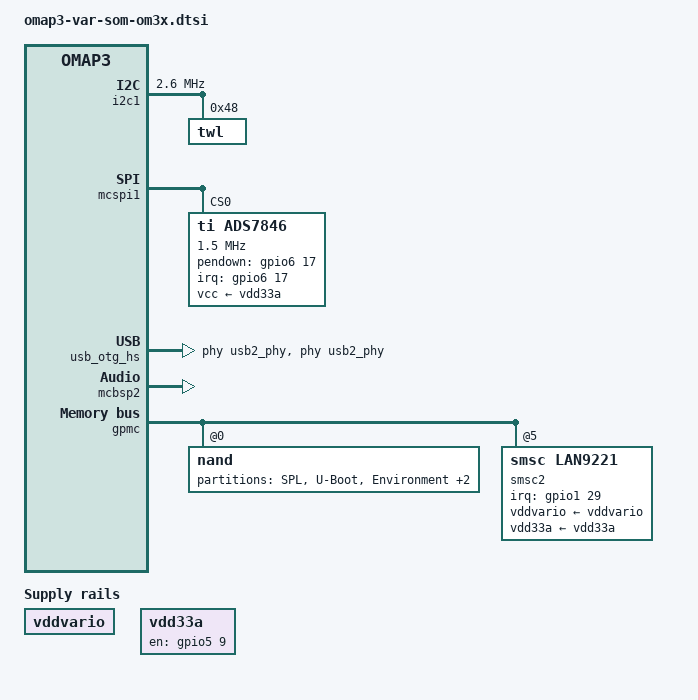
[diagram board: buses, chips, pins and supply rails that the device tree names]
/*
 * Copyright (C) 2012 Florian Vaussard, EPFL Mobots group
 *
 * This program is free software; you can redistribute it and/or modify
 * it under the terms of the GNU General Public License version 2 as
 * published by the Free Software Foundation.
 */
 
#include "omap36xx.dtsi"
#include "omap3-var-som-om3x-usb.dtsi"
/ {
	sound {
		compatible = "ti,omap-twl4030";
		ti,model = "var-som-om3x";

		ti,mcbsp = <&mcbsp2>;
		ti,codec = <&twl_audio>;
	};

	vddvario: regulator-vddvario {
		compatible = "regulator-fixed";
		regulator-name = "vddvario";
		regulator-always-on;
	};

	vdd33a: regulator-vdd33a {
		compatible = "regulator-fixed";
		regulator-name = "vdd33a";
                gpio = <&gpio5 9 0>;
                enable-active-high;
		regulator-always-on;
	};
};


&omap3_pmx_core2 {
	smsc_pins2: pinmux_smsc_pins2 {
		pinctrl-single,pins = <
			OMAP3630_CORE2_IOPAD(0x25fa, PIN_INPUT_PULLUP | MUX_MODE4)	/* etk_d15.gpio_29 */
		>;
	};
};

&omap3_pmx_core {
	pinctrl-names = "default";
	pinctrl-0 = <&smsc_pins1>;

	uart2_pins: pinmux_uart2_pins {
		pinctrl-single,pins = <
			OMAP3_CORE1_IOPAD(0x216c, PIN_INPUT | MUX_MODE1)	/* mcbsp3_dx.uart2_cts */
			OMAP3_CORE1_IOPAD(0x216e, PIN_OUTPUT | MUX_MODE1)	/* mcbsp3_dr.uart2_rts */
			OMAP3_CORE1_IOPAD(0x2170, PIN_OUTPUT | MUX_MODE1)	/* mcbsp3_clk.uart2_tx */
			OMAP3_CORE1_IOPAD(0x2172, PIN_INPUT | MUX_MODE1)	/* mcbsp3_fsx.uart2_rx */
		>;
	};

	i2c1_pins: pinmux_i2c1_pins {
		pinctrl-single,pins = <
			OMAP3_CORE1_IOPAD(0x21ba, PIN_INPUT | MUX_MODE0)		/* i2c1_scl.i2c1_scl */
			OMAP3_CORE1_IOPAD(0x21bc, PIN_INPUT | MUX_MODE0)		/* i2c1_sda.i2c1_sda */
		>;
	};

	i2c3_pins: pinmux_i2c3_pins {
		pinctrl-single,pins = <
			OMAP3_CORE1_IOPAD(0x21c2, PIN_INPUT | MUX_MODE0)		/* i2c3_scl.i2c3_scl */
			OMAP3_CORE1_IOPAD(0x21c4, PIN_INPUT | MUX_MODE0)		/* i2c3_sda.i2c3_sda */
		>;
	};

	i2c4_pins: pinmux_i2c4_pins {
		pinctrl-single,pins = <
			OMAP3_CORE1_IOPAD(0x2a00, PIN_INPUT | MUX_MODE0)		/* i2c4_scl.i2c4_scl */
			OMAP3_CORE1_IOPAD(0x2a02, PIN_INPUT | MUX_MODE0)		/* i2c4_sda.i2c4_sda */
		>;
	};


	mmc1_pins: pinmux_mmc1_pins {
		pinctrl-single,pins = <
			OMAP3_CORE1_IOPAD(0x2144, PIN_INPUT_PULLUP | MUX_MODE0)		/* sdmmc1_clk.sdmmc1_clk */
			OMAP3_CORE1_IOPAD(0x2146, PIN_INPUT_PULLUP | MUX_MODE0)		/* sdmmc1_cmd.sdmmc1_cmd */
			OMAP3_CORE1_IOPAD(0x2148, PIN_INPUT_PULLUP | MUX_MODE0)		/* sdmmc1_dat0.sdmmc1_dat0 */
			OMAP3_CORE1_IOPAD(0x214a, PIN_INPUT_PULLUP | MUX_MODE0)		/* sdmmc1_dat1.sdmmc1_dat1 */
			OMAP3_CORE1_IOPAD(0x214c, PIN_INPUT_PULLUP | MUX_MODE0)		/* sdmmc1_dat2.sdmmc1_dat2 */
			OMAP3_CORE1_IOPAD(0x214e, PIN_INPUT_PULLUP | MUX_MODE0)		/* sdmmc1_dat3.sdmmc1_dat3 */
		>;
	};

	mmc2_pins: pinmux_mmc2_pins {
		pinctrl-single,pins = <
			OMAP3_CORE1_IOPAD(0x2158, PIN_INPUT_PULLUP | MUX_MODE0)		/* sdmmc2_clk.sdmmc2_clk */
			OMAP3_CORE1_IOPAD(0x215a, PIN_INPUT_PULLUP | MUX_MODE0)		/* sdmmc2_cmd.sdmmc2_cmd */
			OMAP3_CORE1_IOPAD(0x215c, PIN_INPUT_PULLUP | MUX_MODE0)		/* sdmmc2_dat0.sdmmc2_dat0 */
			OMAP3_CORE1_IOPAD(0x215e, PIN_INPUT_PULLUP | MUX_MODE0)		/* sdmmc2_dat1.sdmmc2_dat1 */
			OMAP3_CORE1_IOPAD(0x2160, PIN_INPUT_PULLUP | MUX_MODE0)		/* sdmmc2_dat2.sdmmc2_dat2 */
			OMAP3_CORE1_IOPAD(0x2162, PIN_INPUT_PULLUP | MUX_MODE0)		/* sdmmc2_dat3.sdmmc2_dat3 */
		>;
	};

 	hsusb0_pins: pinmux_hsusb0_pins {
		pinctrl-single,pins = <
			OMAP3_CORE1_IOPAD(0x21a2, PIN_OUTPUT | MUX_MODE0)		/* hsusb0_clk.hsusb0_clk */
			OMAP3_CORE1_IOPAD(0x21a4, PIN_OUTPUT | MUX_MODE0)		/* hsusb0_stp.hsusb0_stp */
			OMAP3_CORE1_IOPAD(0x21a6, PIN_INPUT_PULLDOWN | MUX_MODE0)	/* hsusb0_dir.hsusb0_dir */
			OMAP3_CORE1_IOPAD(0x21a8, PIN_INPUT_PULLDOWN | MUX_MODE0)	/* hsusb0_nxt.hsusb0_nxt */
			OMAP3_CORE1_IOPAD(0x21aa, PIN_INPUT_PULLDOWN | MUX_MODE0)	/* hsusb0_data0.hsusb2_data0 */
			OMAP3_CORE1_IOPAD(0x21ac, PIN_INPUT_PULLDOWN | MUX_MODE0)	/* hsusb0_data1.hsusb0_data1 */
			OMAP3_CORE1_IOPAD(0x21ae, PIN_INPUT_PULLDOWN | MUX_MODE0)	/* hsusb0_data2.hsusb0_data2 */
			OMAP3_CORE1_IOPAD(0x21b0, PIN_INPUT_PULLDOWN | MUX_MODE0)	/* hsusb0_data3.hsusb0_data3 */
			OMAP3_CORE1_IOPAD(0x21b2, PIN_INPUT_PULLDOWN | MUX_MODE0)	/* hsusb0_data4.hsusb0_data4 */
			OMAP3_CORE1_IOPAD(0x21b4, PIN_INPUT_PULLDOWN | MUX_MODE0)	/* hsusb0_data5.hsusb0_data5 */
			OMAP3_CORE1_IOPAD(0x21b6, PIN_INPUT_PULLDOWN | MUX_MODE0)	/* hsusb0_data6.hsusb0_data6 */
			OMAP3_CORE1_IOPAD(0x21b8, PIN_INPUT_PULLDOWN | MUX_MODE0)	/* hsusb0_data7.hsusb0_data7 */
		>;
	};

	smsc_pins: pinmux_smsc_pins {
		pinctrl-single,pins = <
			OMAP3_CORE1_IOPAD(0x20b8, PIN_OUTPUT | MUX_MODE0)		/* gpmc_ncs5.gpmc_ncs5 */
		>;
	};
	smsc_pins1: pinmux_smsc_pins1 {
		pinctrl-single,pins = <
			OMAP3_CORE1_IOPAD(0x2166, PIN_OUTPUT | MUX_MODE4)		/* mmc2_dat5.gpio_137 */
		>;
	};
	
	mcspi1_pins: pinmux_mcspi1_pins {
		pinctrl-single,pins = <
			OMAP3_CORE1_IOPAD(0x21c8, PIN_INPUT | MUX_MODE0)	/* mcspi1_clk.mcspi1_clk */
			OMAP3_CORE1_IOPAD(0x21ca, PIN_INPUT | MUX_MODE0)	/* mcspi1_simo.mcspi1_simo */
			OMAP3_CORE1_IOPAD(0x21cc, PIN_INPUT | MUX_MODE0)	/* mcspi1_somi.mcspi1_somi */
			OMAP3_CORE1_IOPAD(0x21ce, PIN_INPUT | MUX_MODE0)	/* mcspi1_cs0.mcspi1_cs0 */
		>;
	};
	
	ads7846_pins: pinmux_ads7846_pins {
		pinctrl-single,pins = <
			OMAP3_CORE1_IOPAD(0x21d4, PIN_INPUT_PULLDOWN | MUX_MODE4)	/* mcspi1_cs3.gpio_177 */
		>;
	};
};

&i2c1 {
	pinctrl-names = "default";
	pinctrl-0 = <&i2c1_pins>;
	clock-frequency = <2600000>;

	twl: twl@48 {
		reg = <0x48>;
		interrupts = <7>; /* SYS_NIRQ cascaded to intc */
		interrupt-parent = <&intc>;

		twl_audio: audio {
			compatible = "ti,twl4030-audio";
			codec {
			};
		};
	};
};

#include "twl4030.dtsi"
#include "twl4030_omap3.dtsi"

&mcspi1 {
	pinctrl-names = "default";
	pinctrl-0 = <&mcspi1_pins>;

	/* touch controller */
	ads7846@0 {
		pinctrl-names = "default";
		pinctrl-0 = <&ads7846_pins>;

		compatible = "ti,ads7846";
		vcc-supply = <&vdd33a>;

		reg = <0>;				/* CS0 */
		spi-max-frequency = <1500000>;

		interrupt-parent = <&gpio6>;
		interrupts = <17 0>;			/* gpio_177 */
		pendown-gpio = <&gpio6 17 0>;

		ti,x-min = /bits/ 16 <0x0>;
		ti,x-max = /bits/ 16 <0x0fff>;
		ti,y-min = /bits/ 16 <0x0>;
		ti,y-max = /bits/ 16 <0x0fff>;
		ti,x-plate-ohms = /bits/ 16 <180>;
		ti,pressure-max = /bits/ 16 <255>;

		linux,wakeup;
	};
};

/* i2c2 pins are NC */
&i2c2 {
	status = "disabled";
};

&usb_otg_hs {
	pinctrl-names = "default";
	pinctrl-0 = <&hsusb0_pins>;
	interface-type = <0>;
	usb-phy = <&usb2_phy>;
	phys = <&usb2_phy>;
	phy-names = "usb2-phy";
	mode = <3>;
	power = <50>;
};

&uart2 {
	pinctrl-names = "default";
	pinctrl-0 = <&uart2_pins>;
};

&mcbsp2 {
    status = "okay";
};

&gpmc {
	ranges = <0 0 0x00000000 0x20000000>,
		 <5 0 0x2c000000 0x01000000>; 
		 
	nand@0,0 {
		linux,mtd-name= "micron,mt29c4g96maz";
		reg = <0 0 0>;
		nand-bus-width = <16>;
		gpmc,device-width = <2>;
		ti,nand-ecc-opt = "bch8";

		gpmc,sync-clk-ps = <0>;
		gpmc,cs-on-ns = <0>;
		gpmc,cs-rd-off-ns = <44>;
		gpmc,cs-wr-off-ns = <44>;
		gpmc,adv-on-ns = <6>;
		gpmc,adv-rd-off-ns = <34>;
		gpmc,adv-wr-off-ns = <44>;
		gpmc,we-off-ns = <40>;
		gpmc,oe-off-ns = <54>;
		gpmc,access-ns = <64>;
		gpmc,rd-cycle-ns = <82>;
		gpmc,wr-cycle-ns = <82>;
		gpmc,wr-access-ns = <40>;
		gpmc,wr-data-mux-bus-ns = <0>;

		#address-cells = <1>;
		#size-cells = <1>;

		partition@0 {
			label = "SPL";
			reg = <0 0x80000>; /* 512KiB */
		};
		partition@80000 {
			label = "U-Boot";
			reg = <0x80000 0x1C0000>; /* 1792KiB */
		};
		partition@1c0000 {
			label = "Environment";
			reg = <0x240000 0x40000>; /* 256KiB */
		};
		partition@280000 {
			label = "Kernel";
			reg = <0x280000 0x800000>; /* 8192KiB */
		};
		partition@780000 {
			label = "Filesystem";
			reg = <0xA80000 0>;
			/* HACK: MTDPART_SIZ_FULL=0 so fill to end */
		};
	};
	
	smsc2: ethernet@gpmc {
		compatible = "smsc,lan9221", "smsc,lan9115";
		bank-width = <2>;
		gpmc,device-width = <1>;
		gpmc,cycle2cycle-samecsen = <1>;
		gpmc,cycle2cycle-diffcsen = <1>;
		gpmc,cs-on-ns = <5>;
		gpmc,cs-rd-off-ns = <150>;
		gpmc,cs-wr-off-ns = <150>;
		gpmc,adv-on-ns = <0>;
		gpmc,adv-rd-off-ns = <15>;
		gpmc,adv-wr-off-ns = <40>;
		gpmc,oe-on-ns = <45>;
		gpmc,oe-off-ns = <140>;
		gpmc,we-on-ns = <45>;
		gpmc,we-off-ns = <140>;
		gpmc,rd-cycle-ns = <155>;
		gpmc,wr-cycle-ns = <155>;
		gpmc,access-ns = <120>;
		gpmc,page-burst-access-ns = <20>;
		gpmc,bus-turnaround-ns = <75>;
		gpmc,cycle2cycle-delay-ns = <75>;
		gpmc,wait-monitoring-ns = <0>;
		gpmc,clk-activation-ns = <0>;
		gpmc,wr-data-mux-bus-ns = <0>;
		gpmc,wr-access-ns = <0>;
		vddvario-supply = <&vddvario>;
		vdd33a-supply = <&vdd33a>;
		reg-io-width = <4>;
		smsc,save-mac-address;
	
	
		pinctrl-names = "default";
		pinctrl-0 = <&smsc_pins &smsc_pins2>;
		interrupt-parent = <&gpio1>;
		interrupts = <29 IRQ_TYPE_LEVEL_LOW>; 
		reg = <5 0 0xff>;
	};
};
